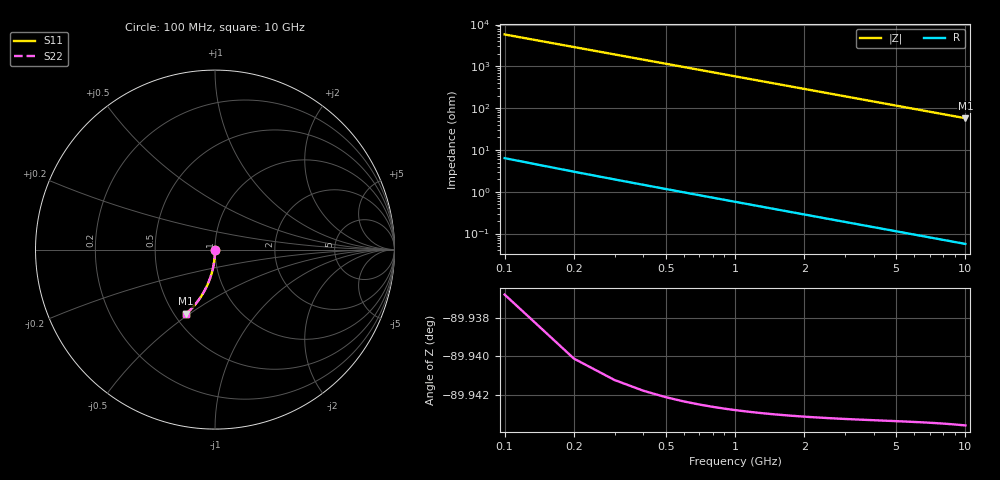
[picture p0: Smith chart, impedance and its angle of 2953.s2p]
# Hz S RI R 50.00
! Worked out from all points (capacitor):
!   100 points, 100 MHz to 10 GHz, reference 50 ohm
!   read as one part in shunt: C = 275 fF near 100 MHz
!   lowest |Z| = 57.5 ohm at 10 GHz (marker M1)
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1e8  -7.35e-06 -0.00424  1 -0.00441  1 -0.00441  -7.35e-06 -0.00424
2e8  -6.76e-05 -0.00848  0.9999 -0.00883  0.9999 -0.00883  -6.76e-05 -0.00848
3e8  -0.000165 -0.0127  0.9998 -0.0132  0.9998 -0.0132  -0.000165 -0.0127
4e8  -0.000301 -0.017  0.9997 -0.0177  0.9997 -0.0177  -0.000301 -0.017
5e8  -0.000473 -0.0212  0.9995 -0.0221  0.9995 -0.0221  -0.000473 -0.0212
6e8  -0.000683 -0.0254  0.9993 -0.0265  0.9993 -0.0265  -0.000683 -0.0254
7e8  -0.00093 -0.0297  0.999 -0.0309  0.999 -0.0309  -0.00093 -0.0297
8e8  -0.00122 -0.0339  0.9988 -0.0353  0.9988 -0.0353  -0.00122 -0.0339
9e8  -0.00154 -0.0381  0.9984 -0.0397  0.9984 -0.0397  -0.00154 -0.0381
1.1e9  -0.00229 -0.0465  0.9977 -0.0485  0.9977 -0.0485  -0.00229 -0.0465
1.4e9  -0.0037 -0.0592  0.9963 -0.0616  0.9963 -0.0616  -0.0037 -0.0592
1.8e9  -0.0061 -0.0759  0.9939 -0.0791  0.9939 -0.0791  -0.0061 -0.0759
2.1e9  -0.00829 -0.0884  0.9917 -0.0921  0.9917 -0.0921  -0.00829 -0.0884
2.5e9  -0.0117 -0.1049  0.9883 -0.1094  0.9883 -0.1094  -0.0117 -0.1049
2.9e9  -0.0157 -0.1213  0.9843 -0.1264  0.9843 -0.1264  -0.0157 -0.1213
3.4e9  -0.0214 -0.1414  0.9785 -0.1475  0.9785 -0.1475  -0.0214 -0.1414
4.2e9  -0.0324 -0.1728  0.9676 -0.1803  0.9676 -0.1803  -0.0324 -0.1728
5.1e9  -0.0471 -0.2068  0.9529 -0.2159  0.9529 -0.2159  -0.0471 -0.2068
5.9e9  -0.0621 -0.2356  0.9378 -0.2462  0.9378 -0.2462  -0.0621 -0.2356
6.7e9  -0.0787 -0.2628  0.9212 -0.2749  0.9212 -0.2749  -0.0787 -0.2628
8.4e9  -0.1186 -0.3152  0.8813 -0.3305  0.8813 -0.3305  -0.1186 -0.3152
1e10  -0.1603 -0.3573  0.8395 -0.3756  0.8395 -0.3756  -0.1603 -0.3573
